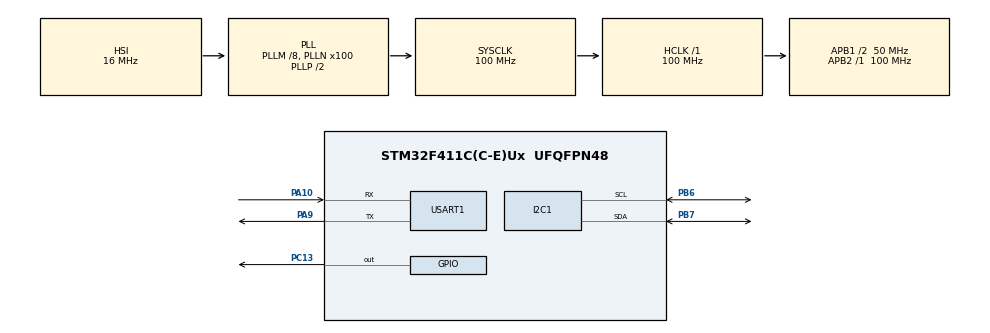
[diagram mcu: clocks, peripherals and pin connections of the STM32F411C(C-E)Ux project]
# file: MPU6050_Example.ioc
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I2C1.I2C_Mode=I2C_Fast
Mcu.Family=STM32F4
Mcu.Name=STM32F411C(C-E)Ux
Mcu.Package=UFQFPN48
NVIC.PriorityGroup=NVIC_PRIORITYGROUP_4
PA10.Mode=Asynchronous
PA10.Signal=USART1_RX
PA13.Mode=Serial_Wire
PA13.Signal=SYS_JTMS-SWDIO
PA14.Mode=Serial_Wire
PA14.Signal=SYS_JTCK-SWCLK
PA9.Mode=Asynchronous
PA9.Signal=USART1_TX
PB6.Mode=I2C
PB6.Signal=I2C1_SCL
PB7.Mode=I2C
PB7.Signal=I2C1_SDA
PC13-ANTI_TAMP.Signal=GPIO_Output
PH0\ -\ OSC_IN.Mode=HSE-External-Oscillator
PH0\ -\ OSC_IN.Signal=RCC_OSC_IN
PH1\ -\ OSC_OUT.Mode=HSE-External-Oscillator
PH1\ -\ OSC_OUT.Signal=RCC_OSC_OUT
ProjectManager.HeapSize=0x200
ProjectManager.StackSize=0x400
ProjectManager.TargetToolchain=STM32CubeIDE
RCC.48MHZClocksFreq_Value=50000000
RCC.AHBFreq_Value=100000000
RCC.APB1CLKDivider=RCC_HCLK_DIV2
RCC.APB1Freq_Value=50000000
RCC.APB1TimFreq_Value=100000000
RCC.APB2Freq_Value=100000000
RCC.APB2TimFreq_Value=100000000
RCC.CortexFreq_Value=100000000
RCC.HCLKFreq_Value=100000000
RCC.HSE_VALUE=25000000
RCC.HSI_VALUE=16000000
RCC.LSE_VALUE=32768
RCC.PLLM=8
RCC.PLLN=100
RCC.SYSCLKFreq_VALUE=100000000
RCC.SYSCLKSource=RCC_SYSCLKSOURCE_PLLCLK
RCC.VCOOutputFreq_Value=200000000
USART1.VirtualMode=VM_ASYNC
board=custom

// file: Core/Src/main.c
/* USER CODE BEGIN Header */
/**
  ******************************************************************************
  * @file           : main.c
  * @brief          : Main program body
  ******************************************************************************
  * @attention
  *
  * Copyright (c) 2026 STMicroelectronics.
  * All rights reserved.
  *
  * This software is licensed under terms that can be found in the LICENSE file
  * in the root directory of this software component.
  * If no LICENSE file comes with this software, it is provided AS-IS.
  *
  ******************************************************************************
  */
/* USER CODE END Header */
#include "main.h"

/* USER CODE BEGIN Includes */
#include "MPU6050.h"
#include "ANSII_Codes.h"
#include <stdio.h>
#include <stdlib.h>
#include <string.h>
/* USER CODE END Includes */

/* USER CODE BEGIN PTD */
/* Una lectura completa del sensor: aceleración, giroscopio y temperatura */
typedef struct {
	MPU6050_Accel_t a;
	MPU6050_Gyro_t  g;
	float           t;
} MPU_Muestra_t;
/* USER CODE END PTD */

/* USER CODE BEGIN PD */
/* -- Parámetros de la batería de pruebas -- */
#define MPU_MUESTRAS        10U        /**< Lecturas seguidas del test de muestras */
#define MPU_SENTINEL        1000.0f    /**< Fuera de escala (±2 g, ±250 dps): delata campos que Read no escribió */

/* Rango de funcionamiento del sensor */
#define MPU_TEMP_MIN        (-40.0f)
#define MPU_TEMP_MAX        (85.0f)

/* En reposo: |a| ~ 1 g y giro ~ 0 dps. Tolerancias amplias porque el sensor viene sin
 * calibrar (el datasheet da ±20 dps de offset del giroscopio); ajustar si la placa falla quieta */
#define MPU_ACCEL_MOD_MIN   0.8f       /**< |a| mínimo en reposo [g] */
#define MPU_ACCEL_MOD_MAX   1.2f       /**< |a| máximo en reposo [g] */
#define MPU_GYRO_REPOSO     30.0f      /**< |giro| máximo por eje en reposo [dps] */
/* USER CODE END PD */

/* USER CODE BEGIN PM */
#define MPU_CHECK(x)  do { if ((x) != MPU6050_OK) { Error_Handler(); } } while (0)
/* Para los tests de error: la llamada debe devolver exactamente el estado esperado */
#define MPU_EXPECT(x, st)  do { if ((x) != (st)) { Error_Handler(); } } while (0)

/* USER CODE END PM */

I2C_HandleTypeDef hi2c1;

UART_HandleTypeDef huart1;

/* USER CODE BEGIN PV */
MPU6050_Status_t status;
/* USER CODE END PV */

void SystemClock_Config(void);
static void MX_GPIO_Init(void);
static void MX_I2C1_Init(void);
static void MX_USART1_UART_Init(void);
/* USER CODE BEGIN PFP */
static void MPU6050_Centinela(MPU_Muestra_t* m);
static void MPU6050_Leer(MPU_Muestra_t* m);
static void MPU6050_CheckReposo(const MPU_Muestra_t* m);
static void MPU6050_CheckSinTocar(const MPU_Muestra_t* m);
static void MPU6050_CheckDormido(void);
static void MPU6050_CheckDespierto(void);
static void MPU6050_PrintVal(const char* nombre, float v);
static void MPU6050_Print(const MPU_Muestra_t* m);
static void MPU6050_TestSuite(void);
static void MPU6050_TestPreInit(void);
static void MPU6050_TestLectura(void);
static void MPU6050_TestMuestras(void);
static void MPU6050_TestSleep(void);
static void MPU6050_TestErrores(void);
static void MPU6050_TestDeInit(void);
/* USER CODE END PFP */

int main(void)
{

  /* MCU Configuration--------------------------------------------------------*/

  /* Reset of all peripherals, Initializes the Flash interface and the Systick. */
  HAL_Init();

  /* Configure the system clock */
  SystemClock_Config();

  /* Initialize all configured peripherals */
  MX_GPIO_Init();
  MX_I2C1_Init();
  MX_USART1_UART_Init();
  /* USER CODE BEGIN 2 */
  printf(CLEAR_SCREEN CURSOR_HOME COLOR_BOLD COLOR_CYAN "MPU6050 TEST" COLOR_RESET "\r\n");
  MPU6050_TestPreInit();

  status = MPU6050_Init(&hi2c1);
  if(status != MPU6050_OK)
  {
	  Error_Handler();
  }
  else
  {
	  HAL_GPIO_WritePin(GPIOC, GPIO_PIN_13, GPIO_PIN_RESET);
  }
  /* USER CODE END 2 */

  /* Infinite loop */
  /* USER CODE BEGIN WHILE */
  while (1)
  {
	  MPU6050_TestSuite();
    /* USER CODE END WHILE */

  }
}

void SystemClock_Config(void)
{
  RCC_OscInitTypeDef RCC_OscInitStruct = {0};
  RCC_ClkInitTypeDef RCC_ClkInitStruct = {0};

  /** Configure the main internal regulator output voltage
  */
  __HAL_RCC_PWR_CLK_ENABLE();
  __HAL_PWR_VOLTAGESCALING_CONFIG(PWR_REGULATOR_VOLTAGE_SCALE1);

  /** Initializes the RCC Oscillators according to the specified parameters
  * in the RCC_OscInitTypeDef structure.
  */
  RCC_OscInitStruct.OscillatorType = RCC_OSCILLATORTYPE_HSI;
  RCC_OscInitStruct.HSIState = RCC_HSI_ON;
  RCC_OscInitStruct.HSICalibrationValue = RCC_HSICALIBRATION_DEFAULT;
  RCC_OscInitStruct.PLL.PLLState = RCC_PLL_ON;
  RCC_OscInitStruct.PLL.PLLSource = RCC_PLLSOURCE_HSI;
  RCC_OscInitStruct.PLL.PLLM = 8;
  RCC_OscInitStruct.PLL.PLLN = 100;
  RCC_OscInitStruct.PLL.PLLP = RCC_PLLP_DIV2;
  RCC_OscInitStruct.PLL.PLLQ = 4;
  if (HAL_RCC_OscConfig(&RCC_OscInitStruct) != HAL_OK)
  {
    Error_Handler();
  }

  /** Initializes the CPU, AHB and APB buses clocks
  */
  RCC_ClkInitStruct.ClockType = RCC_CLOCKTYPE_HCLK|RCC_CLOCKTYPE_SYSCLK
                              |RCC_CLOCKTYPE_PCLK1|RCC_CLOCKTYPE_PCLK2;
  RCC_ClkInitStruct.SYSCLKSource = RCC_SYSCLKSOURCE_PLLCLK;
  RCC_ClkInitStruct.AHBCLKDivider = RCC_SYSCLK_DIV1;
  RCC_ClkInitStruct.APB1CLKDivider = RCC_HCLK_DIV2;
  RCC_ClkInitStruct.APB2CLKDivider = RCC_HCLK_DIV1;

  if (HAL_RCC_ClockConfig(&RCC_ClkInitStruct, FLASH_LATENCY_3) != HAL_OK)
  {
    Error_Handler();
  }
}

static void MX_I2C1_Init(void)
{

  hi2c1.Instance = I2C1;
  hi2c1.Init.ClockSpeed = 400000;
  hi2c1.Init.DutyCycle = I2C_DUTYCYCLE_2;
  hi2c1.Init.OwnAddress1 = 0;
  hi2c1.Init.AddressingMode = I2C_ADDRESSINGMODE_7BIT;
  hi2c1.Init.DualAddressMode = I2C_DUALADDRESS_DISABLE;
  hi2c1.Init.OwnAddress2 = 0;
  hi2c1.Init.GeneralCallMode = I2C_GENERALCALL_DISABLE;
  hi2c1.Init.NoStretchMode = I2C_NOSTRETCH_DISABLE;
  if (HAL_I2C_Init(&hi2c1) != HAL_OK)
  {
    Error_Handler();
  }

}

static void MX_USART1_UART_Init(void)
{

  huart1.Instance = USART1;
  huart1.Init.BaudRate = 115200;
  huart1.Init.WordLength = UART_WORDLENGTH_8B;
  huart1.Init.StopBits = UART_STOPBITS_1;
  huart1.Init.Parity = UART_PARITY_NONE;
  huart1.Init.Mode = UART_MODE_TX_RX;
  huart1.Init.HwFlowCtl = UART_HWCONTROL_NONE;
  huart1.Init.OverSampling = UART_OVERSAMPLING_16;
  if (HAL_UART_Init(&huart1) != HAL_OK)
  {
    Error_Handler();
  }

}

static void MX_GPIO_Init(void)
{
  GPIO_InitTypeDef GPIO_InitStruct = {0};

  /* GPIO Ports Clock Enable */
  __HAL_RCC_GPIOC_CLK_ENABLE();
  __HAL_RCC_GPIOH_CLK_ENABLE();
  __HAL_RCC_GPIOA_CLK_ENABLE();
  __HAL_RCC_GPIOB_CLK_ENABLE();

  /*Configure GPIO pin Output Level */
  HAL_GPIO_WritePin(GPIOC, GPIO_PIN_13, GPIO_PIN_RESET);

  /*Configure GPIO pin : PC13 */
  GPIO_InitStruct.Pin = GPIO_PIN_13;
  GPIO_InitStruct.Mode = GPIO_MODE_OUTPUT_PP;
  GPIO_InitStruct.Pull = GPIO_NOPULL;
  GPIO_InitStruct.Speed = GPIO_SPEED_FREQ_LOW;
  HAL_GPIO_Init(GPIOC, &GPIO_InitStruct);

}

/* USER CODE BEGIN 4 */

/* printf por USART1 (PA9): syscalls.c redirige _write a esta función débil */
int __io_putchar(int ch)
{
	uint8_t c = (uint8_t)ch;
	HAL_UART_Transmit(&huart1, &c, 1, HAL_MAX_DELAY);
	return ch;
}

/* Rellena la muestra con el centinela para detectar campos que Read no escribió */
static void MPU6050_Centinela(MPU_Muestra_t* m)
{
	m->a.x = m->a.y = m->a.z = MPU_SENTINEL;
	m->g.x = m->g.y = m->g.z = MPU_SENTINEL;
	m->t = MPU_SENTINEL;
}

/* Lectura completa: las tres llamadas deben ir bien, escribir todos los campos
 * (el centinela está fuera de escala) y dar una temperatura plausible */
static void MPU6050_Leer(MPU_Muestra_t* m)
{
	MPU6050_Centinela(m);
	MPU_CHECK(MPU6050_Read_Accel(&m->a));
	MPU_CHECK(MPU6050_Read_Gyro(&m->g));
	MPU_CHECK(MPU6050_Read_Temp(&m->t));

	if (m->a.x == MPU_SENTINEL || m->a.y == MPU_SENTINEL || m->a.z == MPU_SENTINEL ||
		m->g.x == MPU_SENTINEL || m->g.y == MPU_SENTINEL || m->g.z == MPU_SENTINEL ||
		m->t < MPU_TEMP_MIN || m->t > MPU_TEMP_MAX)
	{
		Error_Handler();
	}
}

/* Placa quieta: solo actúa la gravedad (|a| ~ 1 g en cualquier orientación) y no hay giro.
 * Detecta factores de escala o bytes mal combinados que un simple rango no vería */
static void MPU6050_CheckReposo(const MPU_Muestra_t* m)
{
	const float mod2 = m->a.x * m->a.x + m->a.y * m->a.y + m->a.z * m->a.z;

	if (mod2 < MPU_ACCEL_MOD_MIN * MPU_ACCEL_MOD_MIN || mod2 > MPU_ACCEL_MOD_MAX * MPU_ACCEL_MOD_MAX ||
		m->g.x < -MPU_GYRO_REPOSO || m->g.x > MPU_GYRO_REPOSO ||
		m->g.y < -MPU_GYRO_REPOSO || m->g.y > MPU_GYRO_REPOSO ||
		m->g.z < -MPU_GYRO_REPOSO || m->g.z > MPU_GYRO_REPOSO)
	{
		Error_Handler();
	}
}

/* Tras un Read rechazado la muestra debe seguir intacta */
static void MPU6050_CheckSinTocar(const MPU_Muestra_t* m)
{
	if (m->a.x != MPU_SENTINEL || m->a.y != MPU_SENTINEL || m->a.z != MPU_SENTINEL ||
		m->g.x != MPU_SENTINEL || m->g.y != MPU_SENTINEL || m->g.z != MPU_SENTINEL ||
		m->t != MPU_SENTINEL)
	{
		Error_Handler();
	}
}

/* Dormido el sensor deja de muestrear: dos lecturas separadas deben ser idénticas */
static void MPU6050_CheckDormido(void)
{
	MPU_Muestra_t m1, m2;

	HAL_Delay(50);
	MPU6050_Leer(&m1);
	HAL_Delay(100);
	MPU6050_Leer(&m2);
	if (memcmp(&m1, &m2, sizeof(m1)) != 0)
	{
		Error_Handler();
	}
	MPU6050_Print(&m1);
}

/* Despierto, el ruido del sensor hace que dos lecturas separadas nunca coincidan */
static void MPU6050_CheckDespierto(void)
{
	MPU_Muestra_t m1, m2;

	HAL_Delay(100);    /* Arranque del giroscopio tras salir de sleep (~30 ms) */
	MPU6050_Leer(&m1);
	HAL_Delay(50);
	MPU6050_Leer(&m2);
	if (memcmp(&m1, &m2, sizeof(m1)) == 0)
	{
		Error_Handler();
	}
	MPU6050_Print(&m2);
}

/* El proyecto no enlaza -u _printf_float: se imprime en centésimas con enteros */
static void MPU6050_PrintVal(const char* nombre, float v)
{
	const int32_t c = (int32_t)(v * 100.0f);
	printf("%s%s%ld.%02ld ", nombre, (c < 0) ? "-" : "", labs(c) / 100, labs(c) % 100);
}

static void MPU6050_Print(const MPU_Muestra_t* m)
{
	printf("A[g] ");
	MPU6050_PrintVal("x=", m->a.x);
	MPU6050_PrintVal("y=", m->a.y);
	MPU6050_PrintVal("z=", m->a.z);
	printf("| G[dps] ");
	MPU6050_PrintVal("x=", m->g.x);
	MPU6050_PrintVal("y=", m->g.y);
	MPU6050_PrintVal("z=", m->g.z);
	printf("| ");
	MPU6050_PrintVal("T=", m->t);
	printf("C\r\n");
}

static void MPU6050_TestSuite(void)
{
	MPU6050_TestLectura();
	HAL_Delay(2000);

	MPU6050_TestMuestras();
	HAL_Delay(2000);

	MPU6050_TestSleep();
	HAL_Delay(2000);

	MPU6050_TestErrores();
	HAL_Delay(2000);

	MPU6050_TestDeInit();
	HAL_Delay(2000);
}

static void MPU6050_TestPreInit(void)
{
	MPU_Muestra_t m;

	/* -- Antes de Init: todo devuelve NOT_INITIALIZED sin tocar el bus ni la muestra -- */
	MPU6050_Centinela(&m);
	MPU_EXPECT(MPU6050_Read_Accel(&m.a), MPU6050_NOT_INITIALIZED);
	MPU_EXPECT(MPU6050_Read_Gyro(&m.g), MPU6050_NOT_INITIALIZED);
	MPU_EXPECT(MPU6050_Read_Temp(&m.t), MPU6050_NOT_INITIALIZED);
	MPU_EXPECT(MPU6050_Set_Sleep_Mode(1), MPU6050_NOT_INITIALIZED);
	MPU6050_CheckSinTocar(&m);

	/* DeInit sobre un driver sin inicializar es inofensivo */
	MPU_CHECK(MPU6050_DeInit());
}

static void MPU6050_TestLectura(void)
{
	MPU_Muestra_t m;

	/* -- Lectura única con la placa QUIETA: |a| ~ 1 g, giro ~ 0 dps y temperatura plausible -- */
	printf(COLOR_YELLOW "[Lectura]" COLOR_RESET "\r\n");
	MPU6050_Leer(&m);
	MPU6050_CheckReposo(&m);
	MPU6050_Print(&m);
}

static void MPU6050_TestMuestras(void)
{
	MPU_Muestra_t m;

	/* -- Lecturas seguidas cada ~0.5 s: ninguna debe fallar. Inclina la placa: el eje que
	 *    apunta hacia abajo marca ~1 g; al girarla el giroscopio marca la velocidad angular -- */
	printf(COLOR_YELLOW "[Muestras]" COLOR_RESET "\r\n");
	for (uint8_t i = 1; i <= MPU_MUESTRAS; i++)
	{
		MPU6050_Leer(&m);
		printf("%2u/%u  ", i, MPU_MUESTRAS);
		MPU6050_Print(&m);
		HAL_Delay(500);
	}
}

static void MPU6050_TestSleep(void)
{
	/* -- Sleep: el I2C sigue respondiendo pero las lecturas se congelan -- */
	printf(COLOR_YELLOW "[Sleep]" COLOR_RESET "\r\n");
	MPU_CHECK(MPU6050_Set_Sleep_Mode(1));
	MPU6050_CheckDormido();

	/* -- Despertar: solo cambia el bit SLEEP, las lecturas vuelven a variar -- */
	MPU_CHECK(MPU6050_Set_Sleep_Mode(0));
	MPU6050_CheckDespierto();
}

static void MPU6050_TestErrores(void)
{
	MPU_Muestra_t m;

	/* -- Punteros de salida NULL y enable fuera de {0, 1} -- */
	printf(COLOR_YELLOW "[Errores]" COLOR_RESET "\r\n");
	MPU_EXPECT(MPU6050_Read_Accel(NULL), MPU6050_INVALID_PARAM);
	MPU_EXPECT(MPU6050_Read_Gyro(NULL), MPU6050_INVALID_PARAM);
	MPU_EXPECT(MPU6050_Read_Temp(NULL), MPU6050_INVALID_PARAM);
	MPU_EXPECT(MPU6050_Set_Sleep_Mode(2), MPU6050_INVALID_PARAM);

	/* -- Init con handle NULL: se rechaza antes de tocar el estado, el driver sigue funcionando -- */
	MPU_EXPECT(MPU6050_Init(NULL), MPU6050_INVALID_PARAM);
	MPU6050_Leer(&m);
	printf(COLOR_GREEN "Errores OK" COLOR_RESET "\r\n");
}

static void MPU6050_TestDeInit(void)
{
	MPU_Muestra_t m;

	/* -- DeInit libera el handle: las llamadas posteriores devuelven NOT_INITIALIZED
	 *    sin tocar el bus ni la muestra. Repetirlo sigue devolviendo OK -- */
	printf(COLOR_YELLOW "[DeInit]" COLOR_RESET "\r\n");
	MPU_CHECK(MPU6050_DeInit());
	MPU_CHECK(MPU6050_DeInit());
	MPU6050_Centinela(&m);
	MPU_EXPECT(MPU6050_Read_Accel(&m.a), MPU6050_NOT_INITIALIZED);
	MPU_EXPECT(MPU6050_Read_Gyro(&m.g), MPU6050_NOT_INITIALIZED);
	MPU_EXPECT(MPU6050_Read_Temp(&m.t), MPU6050_NOT_INITIALIZED);
	MPU_EXPECT(MPU6050_Set_Sleep_Mode(0), MPU6050_NOT_INITIALIZED);
	MPU6050_CheckSinTocar(&m);

	/* -- Re-Init: el driver debe poder arrancar de nuevo tras un DeInit -- */
	MPU_CHECK(MPU6050_Init(&hi2c1));
	MPU6050_Leer(&m);

	/* -- Init sobre un driver ya inicializado y dormido: reescribe PWR_MGMT_1 y lo despierta -- */
	MPU_CHECK(MPU6050_Set_Sleep_Mode(1));
	MPU6050_CheckDormido();
	MPU_CHECK(MPU6050_Init(&hi2c1));
	MPU6050_CheckDespierto();
	printf(COLOR_GREEN "Re-Init OK" COLOR_RESET "\r\n");
}

/* USER CODE END 4 */

void Error_Handler(void)
{
  /* USER CODE BEGIN Error_Handler_Debug */
  /* User can add his own implementation to report the HAL error return state */
  /* Si la UART aún no está inicializada, HAL_UART_Transmit devuelve BUSY sin bloquear */
  printf(COLOR_BOLD COLOR_RED "\r\nERROR: prueba fallida" COLOR_RESET "\r\n");
  while (1)
  {
	  HAL_GPIO_TogglePin(GPIOC, GPIO_PIN_13);
	  HAL_Delay(200);
  }
  /* USER CODE END Error_Handler_Debug */
}
